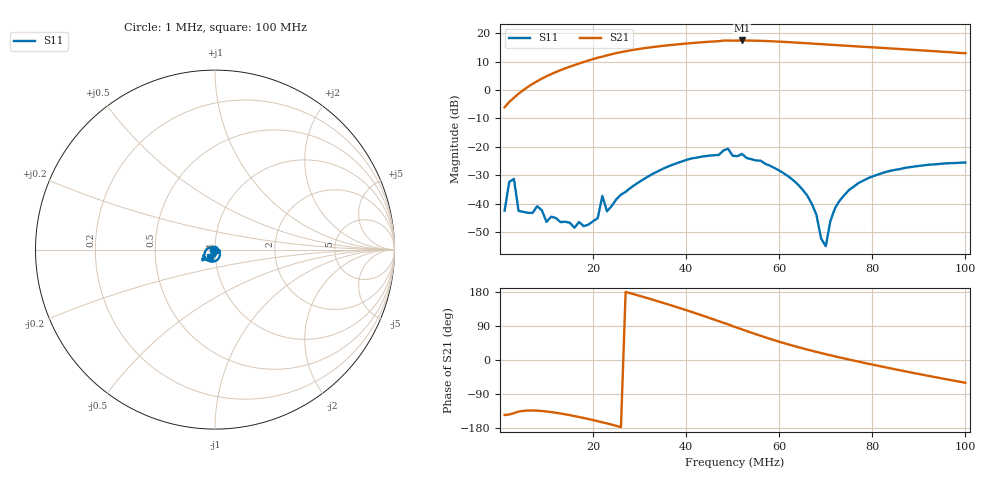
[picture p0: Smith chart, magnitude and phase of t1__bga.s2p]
# HZ S RI R 50
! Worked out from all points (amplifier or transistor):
!   100 points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, 1 MHz to 100 MHz, reference 50 ohm
!   highest |S21| = 17.4 dB at 52 MHz (marker M1)
!   |S21| within 3 dB of that: 29.85 MHz to 85.76 MHz (55.92 MHz wide, 96.7 % of centre)
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1000001  -0.00753 0.000295  -0.4083 -0.2845  0 0  0 0
3000001  0.0268 -0.00522  -0.562 -0.4669  0 0  0 0
4000001  -0.00735 0.00135  -0.6205 -0.5971  0 0  0 0
1.1e7  -0.00475 0.0035  -1.403 -1.29  0 0  0 0
1.8e7  -0.000139 0.00402  -2.778 -1.414  0 0  0 0
2.2e7  0.0137 0.000447  -3.732 -1.032  0 0  0 0
2.3e7  0.00731 0.000883  -3.98 -0.8927  0 0  0 0
2.6e7  0.0144 -0.000101  -4.631 -0.2428  0 0  0 0
3.4e7  0.0272 -0.0257  -5.297 2.499  0 0  0 0
3.8e7  0.0208 -0.0473  -4.819 4.117  0 0  0 0
4.2e7  -0.000165 -0.0641  -3.748 5.649  0 0  0 0
4.8e7  -0.0705 -0.0495  -1.067 7.344  0 0  0 0
5.1e7  -0.0556 -0.0399  0.6421 7.382  0 0  0 0
5.2e7  -0.0664 -0.0353  1.181 7.356  0 0  0 0
5.9e7  -0.0422 0.00509  4.408 5.656  0 0  0 0
6.3e7  -0.0237 0.0105  5.456 4.197  0 0  0 0
6.7e7  -0.00802 0.00589  5.982 2.719  0 0  0 0
7e7  6.27e-05 -0.00179  6.113 1.68  0 0  0 0
7.4e7  0.0046 -0.0134  6.032 0.4169  0 0  0 0
8.4e7  -0.00349 -0.0379  4.985 -2.038  0 0  0 0
9.2e7  -0.0174 -0.0452  3.659 -3.259  0 0  0 0
1e8  -0.0299 -0.0438  2.214 -3.843  0 0  0 0
